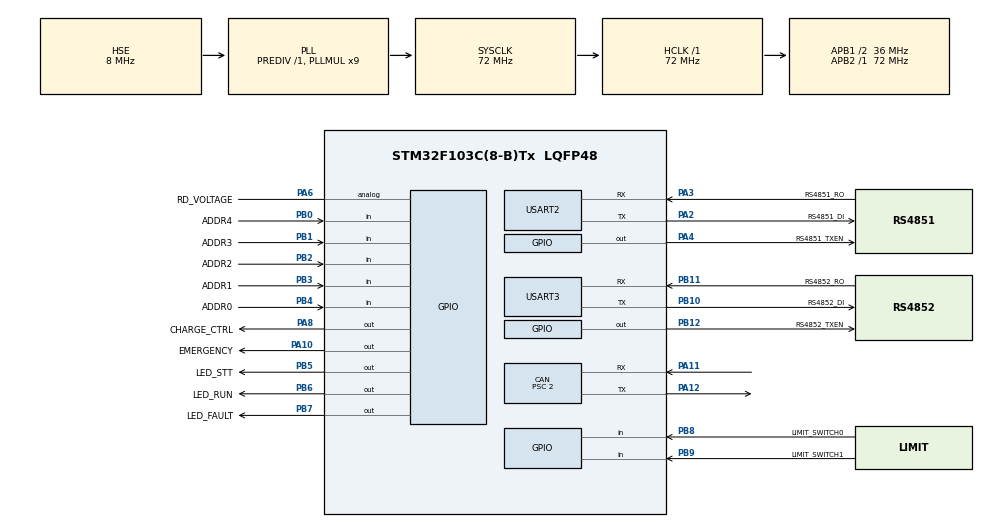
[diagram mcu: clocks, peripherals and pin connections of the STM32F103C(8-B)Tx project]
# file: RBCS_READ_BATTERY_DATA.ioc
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CAN.ABOM=ENABLE
CAN.BS1=CAN_BS1_13TQ
CAN.BS2=CAN_BS2_4TQ
CAN.CalculateBaudRate=1000000
CAN.CalculateTimeBit=1000
CAN.CalculateTimeQuantum=55.55555555555556
CAN.NART=ENABLE
CAN.Prescaler=2
CAN.SJW=CAN_SJW_2TQ
Dma.Request0=USART2_RX
Dma.Request1=USART3_RX
Dma.Request2=USART2_TX
Dma.Request3=USART3_TX
Dma.USART2_RX.0.Direction=DMA_PERIPH_TO_MEMORY
Dma.USART2_RX.0.Instance=DMA1_Channel6
Dma.USART2_RX.0.MemDataAlignment=DMA_MDATAALIGN_BYTE
Dma.USART2_RX.0.MemInc=DMA_MINC_ENABLE
Dma.USART2_RX.0.Mode=DMA_NORMAL
Dma.USART2_RX.0.PeriphDataAlignment=DMA_PDATAALIGN_BYTE
Dma.USART2_RX.0.PeriphInc=DMA_PINC_DISABLE
Dma.USART2_RX.0.Priority=DMA_PRIORITY_LOW
Dma.USART2_TX.2.Direction=DMA_MEMORY_TO_PERIPH
Dma.USART2_TX.2.Instance=DMA1_Channel7
Dma.USART2_TX.2.MemDataAlignment=DMA_MDATAALIGN_BYTE
Dma.USART2_TX.2.MemInc=DMA_MINC_ENABLE
Dma.USART2_TX.2.Mode=DMA_NORMAL
Dma.USART2_TX.2.PeriphDataAlignment=DMA_PDATAALIGN_BYTE
Dma.USART2_TX.2.PeriphInc=DMA_PINC_DISABLE
Dma.USART2_TX.2.Priority=DMA_PRIORITY_LOW
Dma.USART3_RX.1.Direction=DMA_PERIPH_TO_MEMORY
Dma.USART3_RX.1.Instance=DMA1_Channel3
Dma.USART3_RX.1.MemDataAlignment=DMA_MDATAALIGN_BYTE
Dma.USART3_RX.1.MemInc=DMA_MINC_ENABLE
Dma.USART3_RX.1.Mode=DMA_NORMAL
Dma.USART3_RX.1.PeriphDataAlignment=DMA_PDATAALIGN_BYTE
Dma.USART3_RX.1.PeriphInc=DMA_PINC_DISABLE
Dma.USART3_RX.1.Priority=DMA_PRIORITY_LOW
Dma.USART3_TX.3.Direction=DMA_MEMORY_TO_PERIPH
Dma.USART3_TX.3.Instance=DMA1_Channel2
Dma.USART3_TX.3.MemDataAlignment=DMA_MDATAALIGN_BYTE
Dma.USART3_TX.3.MemInc=DMA_MINC_ENABLE
Dma.USART3_TX.3.Mode=DMA_NORMAL
Dma.USART3_TX.3.PeriphDataAlignment=DMA_PDATAALIGN_BYTE
Dma.USART3_TX.3.PeriphInc=DMA_PINC_DISABLE
Dma.USART3_TX.3.Priority=DMA_PRIORITY_LOW
FREERTOS.BinarySemaphores01=binsemaModbusMaster,Dynamic,NULL,Available;binsemaModbusSlave,Dynamic,NULL,Available
FREERTOS.Tasks01=defaultTask,24,128,StartDefaultTask,Default,NULL,Dynamic,NULL,NULL;readBatteryTask,8,128,StartReadBatteryTask,Default,NULL,Dynamic,NULL,NULL;commTask,8,128,StartCommTask,Default,NULL,Dynamic,NULL,NULL
FREERTOS.configTOTAL_HEAP_SIZE=6144
FREERTOS.configUSE_NEWLIB_REENTRANT=1
Mcu.Family=STM32F1
Mcu.Name=STM32F103C(8-B)Tx
Mcu.Package=LQFP48
NVIC.CAN1_RX1_IRQn=true\:5\:0\:false\:false\:true\:true\:true\:true\:true
NVIC.CAN1_SCE_IRQn=true\:5\:0\:false\:false\:true\:true\:true\:true\:true
NVIC.DMA1_Channel2_IRQn=true\:5\:0\:false\:false\:true\:true\:false\:true\:true
NVIC.DMA1_Channel3_IRQn=true\:5\:0\:false\:false\:true\:true\:false\:true\:true
NVIC.DMA1_Channel6_IRQn=true\:5\:0\:false\:false\:true\:true\:false\:true\:true
NVIC.DMA1_Channel7_IRQn=true\:5\:0\:false\:false\:true\:true\:false\:true\:true
NVIC.PriorityGroup=NVIC_PRIORITYGROUP_4
NVIC.TIM1_UP_IRQn=true\:15\:0\:false\:false\:true\:false\:false\:true\:true
NVIC.TIM2_IRQn=true\:5\:0\:false\:false\:true\:true\:true\:true\:true
NVIC.TimeBase=TIM1_UP_IRQn
NVIC.TimeBaseIP=TIM1
NVIC.USART2_IRQn=true\:5\:0\:false\:false\:true\:true\:true\:true\:true
NVIC.USART3_IRQn=true\:5\:0\:false\:false\:true\:true\:true\:true\:true
NVIC.USB_HP_CAN1_TX_IRQn=true\:5\:0\:false\:false\:true\:true\:true\:true\:true
NVIC.USB_LP_CAN1_RX0_IRQn=true\:5\:0\:false\:false\:true\:true\:true\:true\:true
PA10.GPIO_Label=EMERGENCY
PA10.GPIO_PuPd=GPIO_PULLUP
PA10.Signal=GPIO_Output
PA11.Mode=CAN_Activate
PA11.Signal=CAN_RX
PA12.Mode=CAN_Activate
PA12.Signal=CAN_TX
PA13.Mode=Serial_Wire
PA13.Signal=SYS_JTMS-SWDIO
PA14.Mode=Serial_Wire
PA14.Signal=SYS_JTCK-SWCLK
PA2.GPIO_Label=RS4851_DI
PA2.Mode=Asynchronous
PA2.Signal=USART2_TX
PA3.GPIO_Label=RS4851_RO
PA3.Mode=Asynchronous
PA3.Signal=USART2_RX
PA4.GPIO_Label=RS4851_TXEN
PA4.GPIO_PuPd=GPIO_PULLUP
PA4.Signal=GPIO_Output
PA6.GPIO_Label=RD_VOLTAGE
PA6.Signal=GPIO_Analog
PA8.GPIO_Label=CHARGE_CTRL
PA8.GPIO_PuPd=GPIO_PULLUP
PA8.Signal=GPIO_Output
PB0.GPIO_Label=ADDR4
PB0.GPIO_PuPd=GPIO_PULLUP
PB0.Signal=GPIO_Input
PB1.GPIO_Label=ADDR3
PB1.GPIO_PuPd=GPIO_PULLUP
PB1.Signal=GPIO_Input
PB10.GPIO_Label=RS4852_DI
PB10.Mode=Asynchronous
PB10.Signal=USART3_TX
PB11.GPIO_Label=RS4852_RO
PB11.Mode=Asynchronous
PB11.Signal=USART3_RX
PB12.GPIO_Label=RS4852_TXEN
PB12.GPIO_PuPd=GPIO_PULLUP
PB12.Signal=GPIO_Output
PB2.GPIO_Label=ADDR2
PB2.GPIO_PuPd=GPIO_PULLUP
PB2.Signal=GPIO_Input
PB3.GPIO_Label=ADDR1
PB3.GPIO_PuPd=GPIO_PULLUP
PB3.Signal=GPIO_Input
PB4.GPIO_Label=ADDR0
PB4.GPIO_PuPd=GPIO_PULLUP
PB4.Signal=GPIO_Input
PB5.GPIO_Label=LED_STT
PB5.GPIO_ModeDefaultOutputPP=GPIO_MODE_OUTPUT_PP
PB5.GPIO_PuPd=GPIO_PULLUP
PB5.Signal=GPIO_Output
PB6.GPIO_Label=LED_RUN
PB6.GPIO_PuPd=GPIO_PULLUP
PB6.Signal=GPIO_Output
PB7.GPIO_Label=LED_FAULT
PB7.GPIO_PuPd=GPIO_PULLUP
PB7.Signal=GPIO_Output
PB8.GPIO_Label=LIMIT_SWITCH0
PB8.GPIO_PuPd=GPIO_PULLUP
PB8.Signal=GPIO_Input
PB9.GPIO_Label=LIMIT_SWITCH1
PB9.GPIO_PuPd=GPIO_PULLUP
PB9.Signal=GPIO_Input
PD0-OSC_IN.Mode=HSE-External-Oscillator
PD0-OSC_IN.Signal=RCC_OSC_IN
PD1-OSC_OUT.Mode=HSE-External-Oscillator
PD1-OSC_OUT.Signal=RCC_OSC_OUT
ProjectManager.HeapSize=0x200
ProjectManager.StackSize=0x400
ProjectManager.TargetToolchain=STM32CubeIDE
RCC.AHBFreq_Value=72000000
RCC.APB1CLKDivider=RCC_HCLK_DIV2
RCC.APB1Freq_Value=36000000
RCC.APB1TimFreq_Value=72000000
RCC.APB2Freq_Value=72000000
RCC.APB2TimFreq_Value=72000000
RCC.HCLKFreq_Value=72000000
RCC.PLLMUL=RCC_PLL_MUL9
RCC.PLLSourceVirtual=RCC_PLLSOURCE_HSE
RCC.SYSCLKFreq_VALUE=72000000
RCC.SYSCLKSource=RCC_SYSCLKSOURCE_PLLCLK
RCC.USBFreq_Value=72000000
TIM2.Period=10-1
TIM2.Prescaler=7200-1
USART2.VirtualMode=VM_ASYNC
USART3.VirtualMode=VM_ASYNC
VP_FREERTOS_VS_CMSIS_V2.Mode=CMSIS_V2
VP_SYS_VS_tim1.Mode=TIM1
VP_TIM2_VS_ClockSourceINT.Mode=Internal
board=custom

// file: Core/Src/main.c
/* USER CODE BEGIN Header */
/**
  ******************************************************************************
  * @file           : main.c
  * @brief          : Main program body
  ******************************************************************************
  * @attention
  *
  * Copyright (c) 2025 STMicroelectronics.
  * All rights reserved.
  *
  * This software is licensed under terms that can be found in the LICENSE file
  * in the root directory of this software component.
  * If no LICENSE file comes with this software, it is provided AS-IS.
  *
  ******************************************************************************
  */
/* USER CODE END Header */
#include "main.h"
#include "cmsis_os.h"
#include "can.h"
#include "dma.h"
#include "tim.h"
#include "usart.h"
#include "gpio.h"

/* USER CODE BEGIN Includes */
#include "app_states.h"
/* USER CODE END Includes */

/* USER CODE BEGIN PV */
extern DeviceHSM_t device;
/* USER CODE END PV */

void SystemClock_Config(void);
void MX_FREERTOS_Init(void);

/* USER CODE BEGIN 0 */
//static void DWT_Init(void)
//{
//    CoreDebug->DEMCR |= CoreDebug_DEMCR_TRCENA_Msk;
//    DWT->CYCCNT = 0;
//    DWT->CTRL |= DWT_CTRL_CYCCNTENA_Msk;
//}
/* USER CODE END 0 */

int main(void)
{

  /* MCU Configuration--------------------------------------------------------*/

  /* Reset of all peripherals, Initializes the Flash interface and the Systick. */
  HAL_Init();

  /* USER CODE BEGIN Init */
//  DWT_Init();
  /* USER CODE END Init */

  /* Configure the system clock */
  SystemClock_Config();

  /* Initialize all configured peripherals */
  MX_GPIO_Init();
  MX_DMA_Init();
  MX_USART2_UART_Init();
  MX_USART3_UART_Init();
  MX_TIM2_Init();
  MX_CAN_Init();

  /* Init scheduler */
  osKernelInitialize();  /* Call init function for freertos objects (in cmsis_os2.c) */
  MX_FREERTOS_Init();

  /* Start scheduler */
  osKernelStart();

  /* We should never get here as control is now taken by the scheduler */

  /* Infinite loop */
  while (1)
  {

  }
}

void SystemClock_Config(void)
{
  RCC_OscInitTypeDef RCC_OscInitStruct = {0};
  RCC_ClkInitTypeDef RCC_ClkInitStruct = {0};

  /** Initializes the RCC Oscillators according to the specified parameters
  * in the RCC_OscInitTypeDef structure.
  */
  RCC_OscInitStruct.OscillatorType = RCC_OSCILLATORTYPE_HSE;
  RCC_OscInitStruct.HSEState = RCC_HSE_ON;
  RCC_OscInitStruct.HSEPredivValue = RCC_HSE_PREDIV_DIV1;
  RCC_OscInitStruct.HSIState = RCC_HSI_ON;
  RCC_OscInitStruct.PLL.PLLState = RCC_PLL_ON;
  RCC_OscInitStruct.PLL.PLLSource = RCC_PLLSOURCE_HSE;
  RCC_OscInitStruct.PLL.PLLMUL = RCC_PLL_MUL9;
  if (HAL_RCC_OscConfig(&RCC_OscInitStruct) != HAL_OK)
  {
    Error_Handler();
  }

  /** Initializes the CPU, AHB and APB buses clocks
  */
  RCC_ClkInitStruct.ClockType = RCC_CLOCKTYPE_HCLK|RCC_CLOCKTYPE_SYSCLK
                              |RCC_CLOCKTYPE_PCLK1|RCC_CLOCKTYPE_PCLK2;
  RCC_ClkInitStruct.SYSCLKSource = RCC_SYSCLKSOURCE_PLLCLK;
  RCC_ClkInitStruct.AHBCLKDivider = RCC_SYSCLK_DIV1;
  RCC_ClkInitStruct.APB1CLKDivider = RCC_HCLK_DIV2;
  RCC_ClkInitStruct.APB2CLKDivider = RCC_HCLK_DIV1;

  if (HAL_RCC_ClockConfig(&RCC_ClkInitStruct, FLASH_LATENCY_2) != HAL_OK)
  {
    Error_Handler();
  }
}

void HAL_TIM_PeriodElapsedCallback(TIM_HandleTypeDef *htim)
{
  if (htim->Instance == TIM1)
  {
    HAL_IncTick();
  }
  /* USER CODE BEGIN Callback 1 */
  if (htim->Instance == HSM_TIM) {
	  HSM_TIM_IRQHandler();
  }
  /* USER CODE END Callback 1 */
}

void Error_Handler(void)
{
  __disable_irq();
  while (1)
  {
  }
}

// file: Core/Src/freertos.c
/* USER CODE BEGIN Header */
/**
  ******************************************************************************
  * File Name          : freertos.c
  * Description        : Code for freertos applications
  ******************************************************************************
  * @attention
  *
  * Copyright (c) 2025 STMicroelectronics.
  * All rights reserved.
  *
  * This software is licensed under terms that can be found in the LICENSE file
  * in the root directory of this software component.
  * If no LICENSE file comes with this software, it is provided AS-IS.
  *
  ******************************************************************************
  */
/* USER CODE END Header */

#include "FreeRTOS.h"
#include "task.h"
#include "main.h"
#include "cmsis_os.h"

/* USER CODE BEGIN Includes */
#include "usart.h"
#include "can.h"
#include "semphr.h"
#include "app_states.h"
#include "can_battery.h"
/* USER CODE END Includes */

/* USER CODE BEGIN Variables */
DeviceHSM_t device;
CAN_BAT_Handle_t canBatHandle;  /* Global handle accessed by CAN RX ISR */

/* USER CODE END Variables */
/* Definitions for defaultTask */
osThreadId_t defaultTaskHandle;
const osThreadAttr_t defaultTask_attributes = {
  .name = "defaultTask",
  .stack_size = 128 * 4,
  .priority = (osPriority_t) osPriorityNormal,
};
/* Definitions for readBatteryTask */
osThreadId_t readBatteryTaskHandle;
const osThreadAttr_t readBatteryTask_attributes = {
  .name = "readBatteryTask",
  .stack_size = 128 * 4,
  .priority = (osPriority_t) osPriorityLow,
};
/* Definitions for commTask */
osThreadId_t commTaskHandle;
const osThreadAttr_t commTask_attributes = {
  .name = "commTask",
  .stack_size = 128 * 4,
  .priority = (osPriority_t) osPriorityLow,
};
/* Definitions for binsemaModbusMaster */
osSemaphoreId_t binsemaModbusMasterHandle;
const osSemaphoreAttr_t binsemaModbusMaster_attributes = {
  .name = "binsemaModbusMaster"
};
/* Definitions for binsemaModbusSlave */
osSemaphoreId_t binsemaModbusSlaveHandle;
const osSemaphoreAttr_t binsemaModbusSlave_attributes = {
  .name = "binsemaModbusSlave"
};

/* USER CODE BEGIN FunctionPrototypes */
uint8_t ReadModbusAddress(void)
{
    uint8_t addr = 0;

    if (!HAL_GPIO_ReadPin(ADDR4_GPIO_Port, ADDR4_Pin)) addr |= (1<<0);
    if (!HAL_GPIO_ReadPin(ADDR3_GPIO_Port, ADDR3_Pin)) addr |= (1<<1);
    if (!HAL_GPIO_ReadPin(ADDR2_GPIO_Port, ADDR2_Pin)) addr |= (1<<2);
    if (!HAL_GPIO_ReadPin(ADDR1_GPIO_Port, ADDR1_Pin)) addr |= (1<<3);
    if (!HAL_GPIO_ReadPin(ADDR0_GPIO_Port, ADDR0_Pin)) addr |= (1<<4);

    return (addr == 0) ? 1 : addr;  // Nếu = 0 thì dùng địa chỉ 1
}
/* USER CODE END FunctionPrototypes */

void StartDefaultTask(void *argument);
void StartReadBatteryTask(void *argument);
void StartCommTask(void *argument);

void MX_FREERTOS_Init(void); /* (MISRA C 2004 rule 8.1) */

void MX_FREERTOS_Init(void) {

  /* Create the semaphores(s) */
  /* creation of binsemaModbusMaster */
  binsemaModbusMasterHandle = osSemaphoreNew(1, 1, &binsemaModbusMaster_attributes);

  /* creation of binsemaModbusSlave */
  binsemaModbusSlaveHandle = osSemaphoreNew(1, 1, &binsemaModbusSlave_attributes);

  /* Create the thread(s) */
  /* creation of defaultTask */
  defaultTaskHandle = osThreadNew(StartDefaultTask, NULL, &defaultTask_attributes);

  /* creation of readBatteryTask */
  readBatteryTaskHandle = osThreadNew(StartReadBatteryTask, NULL, &readBatteryTask_attributes);

  /* creation of commTask */
  commTaskHandle = osThreadNew(StartCommTask, NULL, &commTask_attributes);

}

void StartDefaultTask(void *argument)
{
  /* USER CODE BEGIN StartDefaultTask */
  /* Infinite loop */
	osSemaphoreAcquire(binsemaModbusMasterHandle, 0);
	osSemaphoreAcquire(binsemaModbusSlaveHandle, 0);

	device.modbus_address = ReadModbusAddress();
	hsmTimerInit();
	default_parameter_init(&device);
	app_states_hsm_init(&device);
	if(!device.modbus_address) {
		uint8_t old_modbus_address = device.modbus_address;
		while(1) {
			device.modbus_address = ReadModbusAddress();
			if(device.modbus_address == 0) {
				HSM_Run((HSM *)&device, HSME_SET_INVALID_BAUD, 0);
			} else {
				if(device.modbus_address != old_modbus_address) {
					old_modbus_address = device.modbus_address;
					HSM_Run((HSM *)&device, HSME_SET_BAUD_CHANGE_VALUE, 0);
				}
			}
			osDelay(10);
		}
	} else {

		/* CAN Battery initialization (replaces Modbus Master) */
		if (CAN_BAT_Init(&canBatHandle, &hcan) != CAN_BAT_OK) {
			Error_Handler();
		}
		device.canBatHandle = canBatHandle;

		/* Modbus Slave initialization (RS485 comm with external master) */
		UART_ReconfigureByCode(&MB_COM_UART, device.storage.baudrate);
		device.handlerModbusSlave.uModbusType = MB_SLAVE;
		device.handlerModbusSlave.port =  &MB_COM_UART;
		device.handlerModbusSlave.u8id = device.modbus_address;
		device.handlerModbusSlave.u16timeOut = 1000;
		device.handlerModbusSlave.EN_Port = MB_COM_PORT;
		device.handlerModbusSlave.EN_Pin = MB_COM_PIN;
		device.handlerModbusSlave.u16regs = device.dataModbusSlave;
		device.handlerModbusSlave.u16regsize= sizeof(device.dataModbusSlave)/sizeof(device.dataModbusSlave[0]);
		device.handlerModbusSlave.xTypeHW = USART_HW_DMA;

		ModbusInit(&device.handlerModbusSlave);
		ModbusStart(&device.handlerModbusSlave);

		osSemaphoreRelease(binsemaModbusMasterHandle);
		osSemaphoreRelease(binsemaModbusSlaveHandle);
	}

  for(;;)
  {
	  // Check Limit Switch
	  if (HAL_GPIO_ReadPin(LIMIT_SWITCH0_GPIO_Port, LIMIT_SWITCH0_Pin) == (GPIO_PinState)LS_ACTIVE
			  || HAL_GPIO_ReadPin(LIMIT_SWITCH1_GPIO_Port, LIMIT_SWITCH1_Pin) == (GPIO_PinState)LS_ACTIVE ) {

		  HSM_Run((HSM *)&device, HSME_SWITCH_LIMIT_ACTIVE, 0);
	  } else {
		  device.dataModbusSlave[REG_STA_IS_PIN_IN_SLOT] = SLOT_EMPTY;
		  HSM_Run((HSM *)&device, HSME_SWITCH_LIMIT_PASSTIVE, 0);
	  }
	  osDelay(10);
  }
  /* USER CODE END StartDefaultTask */
}

void StartReadBatteryTask(void *argument)
{
  /* USER CODE BEGIN StartReadBatteryTask */
  /* Infinite loop */
  static uint16_t timeout_count = 0;
  osSemaphoreAcquire(binsemaModbusMasterHandle, osWaitForever);

  /* Register this task for CAN RX notification */
  CAN_BAT_SetNotifyTask(&canBatHandle, xTaskGetCurrentTaskHandle());

  for(;;)
  {
	if(device.dataModbusSlave[REG_STA_IS_PIN_IN_SLOT] == SLOT_FULL) {
		/* Wait for CAN data notification (with timeout) */
		uint32_t notifyValue = ulTaskNotifyTake(pdTRUE, pdMS_TO_TICKS(CAN_BAT_TIMEOUT_MS));

		if (notifyValue > 0 && CAN_BAT_IsDataReady(&canBatHandle)) {
			/* Got complete battery data via CAN */
			CAN_BAT_GetData(&canBatHandle, device.dataBattery, TOTAL_BAT_REGISTERS);
			timeout_count = 0;
			HSM_Run((HSM *)&device, HSME_BAT_RECEIVED_OK, 0);
		} else {
			/* Timeout or incomplete data */
			if(++timeout_count >= 5) {
				timeout_count = 5;
				HSM_Run((HSM *)&device, HSME_BAT_RECEIVED_TIMEOUT, 0);
			}
		}
	} else {
		osDelay(100);
	}
  }
  /* USER CODE END StartReadBatteryTask */
}

void StartCommTask(void *argument)
{
  /* USER CODE BEGIN StartCommTask */
  /* Infinite loop */
  osSemaphoreAcquire(binsemaModbusSlaveHandle, osWaitForever);
  for(;;)
  {
	xSemaphoreTake(device.handlerModbusSlave.ModBusSphrHandle , portMAX_DELAY);
	xSemaphoreGive(device.handlerModbusSlave.ModBusSphrHandle);
	osDelay(100);
  }
  /* USER CODE END StartCommTask */
}

/* USER CODE BEGIN Application */
void ModbusSlave_TxCompleteCallback(modbusHandler_t *modH)
{
	if(modH == &device.handlerModbusSlave) {
    HSM_Run((HSM *)&device, HSME_COMM_RECEIVED_OK, 0);
	}
}
/* USER CODE END Application */
